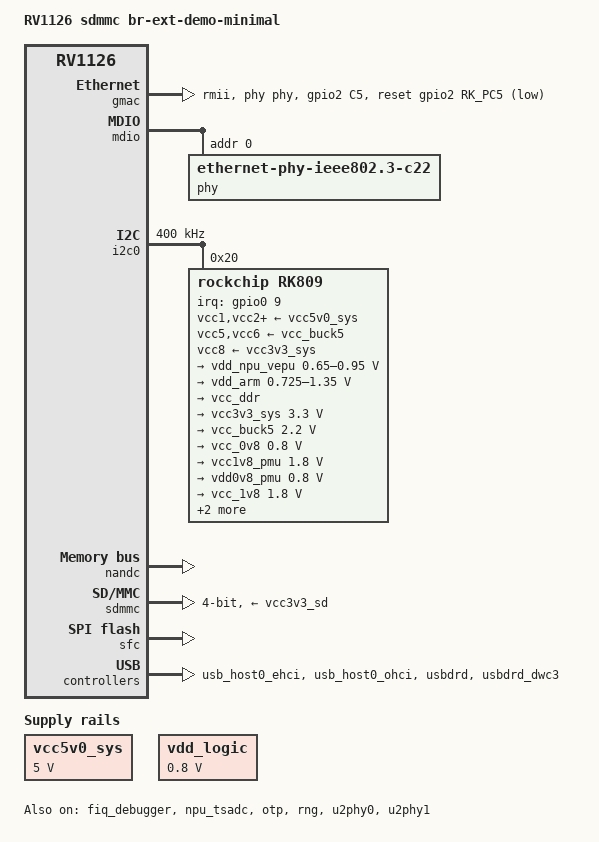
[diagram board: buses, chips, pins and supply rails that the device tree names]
// SPDX-License-Identifier: (GPL-2.0+ OR MIT)
/*
 */

/dts-v1/;
#include "rv1126.dtsi"
#include <dt-bindings/input/input.h>

/ {
	model = "RV1126 sdmmc br-ext-demo-minimal";
	compatible = "rockchip,rv1126-sdmmc-br-ext", "rockchip,rv1126";

	chosen {
		bootargs = "earlycon=uart8250,mmio32,0xff570000 console=ttyFIQ0 rootfstype=ext4 rw rootwait snd_aloop.index=7 root=PARTLABEL=rootfs";
 	};

	vcc5v0_sys: vccsys {
		compatible = "regulator-fixed";
		regulator-name = "vcc5v0_sys";
		regulator-always-on;
		regulator-boot-on;
		regulator-min-microvolt = <5000000>;
		regulator-max-microvolt = <5000000>;
	};

	vdd_logic: vdd-logic {
		compatible = "regulator-fixed";
		regulator-name = "vdd_logic";
		regulator-always-on;
		regulator-boot-on;
		regulator-min-microvolt = <800000>;
		regulator-max-microvolt = <800000>;
	};
};

&cpu0 {
	cpu-supply = <&vdd_arm>;
};

&cpu_tsadc {
	status = "okay";
};

&fiq_debugger {
	status = "okay";
};

&gmac {
	phy-mode = "rmii";
	clock_in_out = "output";

	snps,reset-gpio = <&gpio2 RK_PC5 GPIO_ACTIVE_LOW>;
	snps,reset-active-low;
	/* Reset time is 20ms, 100ms for rtl8211f */
	snps,reset-delays-us = <0 20000 100000>;

	assigned-clocks = <&cru CLK_GMAC_SRC_M1>, <&cru CLK_GMAC_SRC>, <&cru CLK_GMAC_TX_RX>;
	assigned-clock-rates = <0>, <50000000>;
	assigned-clock-parents = <&cru CLK_GMAC_RGMII_M1>, <&cru CLK_GMAC_SRC_M1>, <&cru RMII_MODE_CLK>;

	pinctrl-names = "default";
	pinctrl-0 = <&rgmiim1_miim &rgmiim1_rxer &rgmiim1_bus2 &rgmiim1_mclkinout &gmac_rst>;

	tx_delay = <0x2a>;
	rx_delay = <0x1a>;

	phy-handle = <&phy>;
	status = "okay";
};

&mdio {
	phy: phy@0 {
		compatible = "ethernet-phy-ieee802.3-c22";
		reg = <0x0>;
	};
};

&i2c0 {
	status = "okay";
	clock-frequency = <400000>;

	rk809: pmic@20 {
		compatible = "rockchip,rk809";
		reg = <0x20>;
		interrupt-parent = <&gpio0>;
		interrupts = <9 IRQ_TYPE_LEVEL_LOW>;
		pinctrl-names = "default", "pmic-sleep",
			"pmic-power-off", "pmic-reset";
		pinctrl-0 = <&pmic_int>;
		pinctrl-1 = <&soc_slppin_gpio>, <&rk817_slppin_slp>;
		pinctrl-2 = <&soc_slppin_gpio>, <&rk817_slppin_pwrdn>;
		pinctrl-3 = <&soc_slppin_slp>, <&rk817_slppin_rst>;
		rockchip,system-power-controller;
		wakeup-source;
		#clock-cells = <1>;
		clock-output-names = "rk808-clkout1", "rk808-clkout2";
		/* 0: rst the pmic, 1: rst regs (default in codes) */
		pmic-reset-func = <0>;

		vcc1-supply = <&vcc5v0_sys>;
		vcc2-supply = <&vcc5v0_sys>;
		vcc3-supply = <&vcc5v0_sys>;
		vcc4-supply = <&vcc5v0_sys>;
		vcc5-supply = <&vcc_buck5>;
		vcc6-supply = <&vcc_buck5>;
		vcc7-supply = <&vcc5v0_sys>;
		vcc8-supply = <&vcc3v3_sys>;
		vcc9-supply = <&vcc5v0_sys>;

		pwrkey {
			status = "okay";
		};

		pinctrl_rk8xx: pinctrl_rk8xx {
			gpio-controller;
			#gpio-cells = <2>;

			/omit-if-no-ref/
			rk817_slppin_null: rk817_slppin_null {
				pins = "gpio_slp";
				function = "pin_fun0";
			};

			/omit-if-no-ref/
			rk817_slppin_slp: rk817_slppin_slp {
				pins = "gpio_slp";
				function = "pin_fun1";
			};

			/omit-if-no-ref/
			rk817_slppin_pwrdn: rk817_slppin_pwrdn {
				pins = "gpio_slp";
				function = "pin_fun2";
			};

			/omit-if-no-ref/
			rk817_slppin_rst: rk817_slppin_rst {
				pins = "gpio_slp";
				function = "pin_fun3";
			};
		};

		regulators {
			vdd_npu_vepu: DCDC_REG1 {
                regulator-always-on;
                regulator-boot-on;
                regulator-min-microvolt = <650000>;
                regulator-max-microvolt = <950000>;
                regulator-ramp-delay = <6001>;
                regulator-initial-mode = <0x2>;
                regulator-name = "vdd_npu_vepu";
                regulator-state-mem {
                    regulator-off-in-suspend;
                };
            };

			vdd_arm: DCDC_REG2 {
				regulator-always-on;
				regulator-boot-on;
				regulator-min-microvolt = <725000>;
				regulator-max-microvolt = <1350000>;
				regulator-ramp-delay = <6001>;
				regulator-initial-mode = <0x2>;
				regulator-name = "vdd_arm";
				regulator-state-mem {
					regulator-off-in-suspend;
				};
			};

			vcc_ddr: DCDC_REG3 {
				regulator-always-on;
				regulator-boot-on;
				regulator-initial-mode = <0x2>;
				regulator-name = "vcc_ddr";
				regulator-state-mem {
					regulator-on-in-suspend;
				};
			};

			vcc3v3_sys: DCDC_REG4 {
				regulator-always-on;
				regulator-boot-on;
				regulator-min-microvolt = <3300000>;
				regulator-max-microvolt = <3300000>;
				regulator-initial-mode = <0x2>;
				regulator-name = "vcc3v3_sys";
				regulator-state-mem {
					regulator-on-in-suspend;
					regulator-suspend-microvolt = <3300000>;
				};
			};

			vcc_buck5: DCDC_REG5 {
				regulator-always-on;
				regulator-boot-on;
				regulator-min-microvolt = <2200000>;
				regulator-max-microvolt = <2200000>;
				regulator-name = "vcc_buck5";
				regulator-state-mem {
					regulator-on-in-suspend;
					regulator-suspend-microvolt = <2200000>;
				};
			};

			vcc_0v8: LDO_REG1 {
				regulator-always-on;
				regulator-boot-on;
				regulator-min-microvolt = <800000>;
				regulator-max-microvolt = <800000>;
				regulator-name = "vcc_0v8";
				regulator-state-mem {
					regulator-off-in-suspend;
				};
			};

			vcc1v8_pmu: LDO_REG2 {
				regulator-always-on;
				regulator-boot-on;
				regulator-min-microvolt = <1800000>;
				regulator-max-microvolt = <1800000>;
				regulator-name = "vcc1v8_pmu";
				regulator-state-mem {
					regulator-on-in-suspend;
					regulator-suspend-microvolt = <1800000>;
				};
			};

			vdd0v8_pmu: LDO_REG3 {
				regulator-always-on;
				regulator-boot-on;
				regulator-min-microvolt = <800000>;
				regulator-max-microvolt = <800000>;
				regulator-name = "vcc0v8_pmu";
				regulator-state-mem {
					regulator-on-in-suspend;
					regulator-suspend-microvolt = <800000>;
				};
			};

			vcc_1v8: LDO_REG4 {
				regulator-always-on;
				regulator-boot-on;
				regulator-min-microvolt = <1800000>;
				regulator-max-microvolt = <1800000>;
				regulator-name = "vcc_1v8";
				regulator-state-mem {
					regulator-on-in-suspend;
					regulator-suspend-microvolt = <1800000>;
				};
			};

			vcc_dovdd: LDO_REG5 {
				regulator-boot-on;
				regulator-min-microvolt = <1800000>;
				regulator-max-microvolt = <1800000>;
				regulator-name = "vcc_dovdd";
				regulator-state-mem {
					regulator-off-in-suspend;
				};
			};

			vcc_dvdd: LDO_REG6 {
				regulator-min-microvolt = <1200000>;
				regulator-max-microvolt = <1200000>;
				regulator-name = "vcc_dvdd";
				regulator-state-mem {
					regulator-off-in-suspend;
				};
			};

			vcc_avdd: LDO_REG7 {
				regulator-min-microvolt = <2900000>;
				regulator-max-microvolt = <2900000>;
				regulator-name = "vcc_avdd";
				regulator-state-mem {
					regulator-off-in-suspend;
				};
			};

			vccio_sd: LDO_REG8 {
				regulator-always-on;
				regulator-boot-on;
				regulator-min-microvolt = <1800000>;
				regulator-max-microvolt = <3300000>;
				regulator-name = "vccio_sd";
				regulator-state-mem {
					regulator-off-in-suspend;
				};
			};

			vcc3v3_sd: LDO_REG9 {
				regulator-always-on;
				regulator-boot-on;
				regulator-min-microvolt = <3300000>;
				regulator-max-microvolt = <3300000>;
				regulator-name = "vcc3v3_sd";
				regulator-state-mem {
					regulator-off-in-suspend;
				};
			};

			vcc5v0_host: SWITCH_REG1 {
				regulator-name = "vcc5v0_host";
			};

			vcc_3v3: SWITCH_REG2 {
				regulator-always-on;
				regulator-boot-on;
				regulator-name = "vcc_3v3";
			};
		};

	};
};



&nandc {
	status = "okay";
};

&npu_tsadc {
	status = "okay";
};

&optee {
	status = "disabled";
};

&otp {
	status = "okay";
};

&pinctrl {
	pmic {
		/omit-if-no-ref/
		pmic_int: pmic_int {
			rockchip,pins =
				<0 RK_PB1 RK_FUNC_GPIO &pcfg_pull_up>;
		};

		/omit-if-no-ref/
		soc_slppin_gpio: soc_slppin_gpio {
			rockchip,pins =
				<0 RK_PB2 RK_FUNC_GPIO &pcfg_output_low>;
		};

		/omit-if-no-ref/
		soc_slppin_slp: soc_slppin_slp {
			rockchip,pins =
				<0 RK_PB2 RK_FUNC_1 &pcfg_pull_none>;
		};

		/omit-if-no-ref/
		soc_slppin_rst: soc_slppin_rst {
			rockchip,pins =
				<0 RK_PB2 RK_FUNC_2 &pcfg_pull_none>;
		};
	};

	gpio {
		/omit-if-no-ref/
		gmac_rst: gmac_rst {
			rockchip,pins =
				<2 RK_PC5 RK_FUNC_GPIO &pcfg_pull_none>;
		};

		/omit-if-no-ref/
		sensor_rst: sensor_rst {
			rockchip,pins =
				<1 RK_PD5 RK_FUNC_GPIO &pcfg_pull_none>;
		};

		/omit-if-no-ref/
		ac_in_sel: ac_in_sel {
			rockchip,pins =
				<4 RK_PA0 RK_FUNC_GPIO &pcfg_output_low>;
		};
	};
};

&pmu_io_domains {
    status = "okay";

    pmuio0-supply = <&vcc3v3_sys>;
    pmuio1-supply = <&vcc3v3_sys>;
    vccio1-supply = <&vcc_3v3>;
    vccio2-supply = <&vccio_sd>;
    vccio4-supply = <&vcc_1v8>;
    vccio5-supply = <&vcc_3v3>;
    vccio6-supply = <&vcc_3v3>;
    vccio7-supply = <&vcc_1v8>;
};


&ramoops {
	status = "okay";
};



&rng {
	status = "okay";
};

&sdmmc {
	bus-width = <4>;
	cap-mmc-highspeed;
	cap-sd-highspeed;
	card-detect-delay = <200>;
	rockchip,default-sample-phase = <90>;
	supports-sd;
	sd-uhs-sdr12;
	sd-uhs-sdr25;
	sd-uhs-sdr50;
	vqmmc-supply = <&vccio_sd>;
	vmmc-supply = <&vcc3v3_sd>;
	status = "okay";
};

&sfc {
	status = "okay";
};

&u2phy0 {
	status = "okay";
	vup-gpios = <&gpio0 RK_PC1 GPIO_ACTIVE_LOW>;
	u2phy_otg: otg-port {
		status = "okay";
	};
};

&u2phy1 {
	status = "okay";
	u2phy_host: host-port {
		status = "okay";
		phy-supply = <&vcc5v0_host>;
	};
};

&usb_host0_ehci {
	status = "okay";
};

&usb_host0_ohci {
	status = "okay";
};

&usbdrd {
	status = "okay";
};

&usbdrd_dwc3 {
	status = "okay";
	extcon = <&u2phy0>;
};

